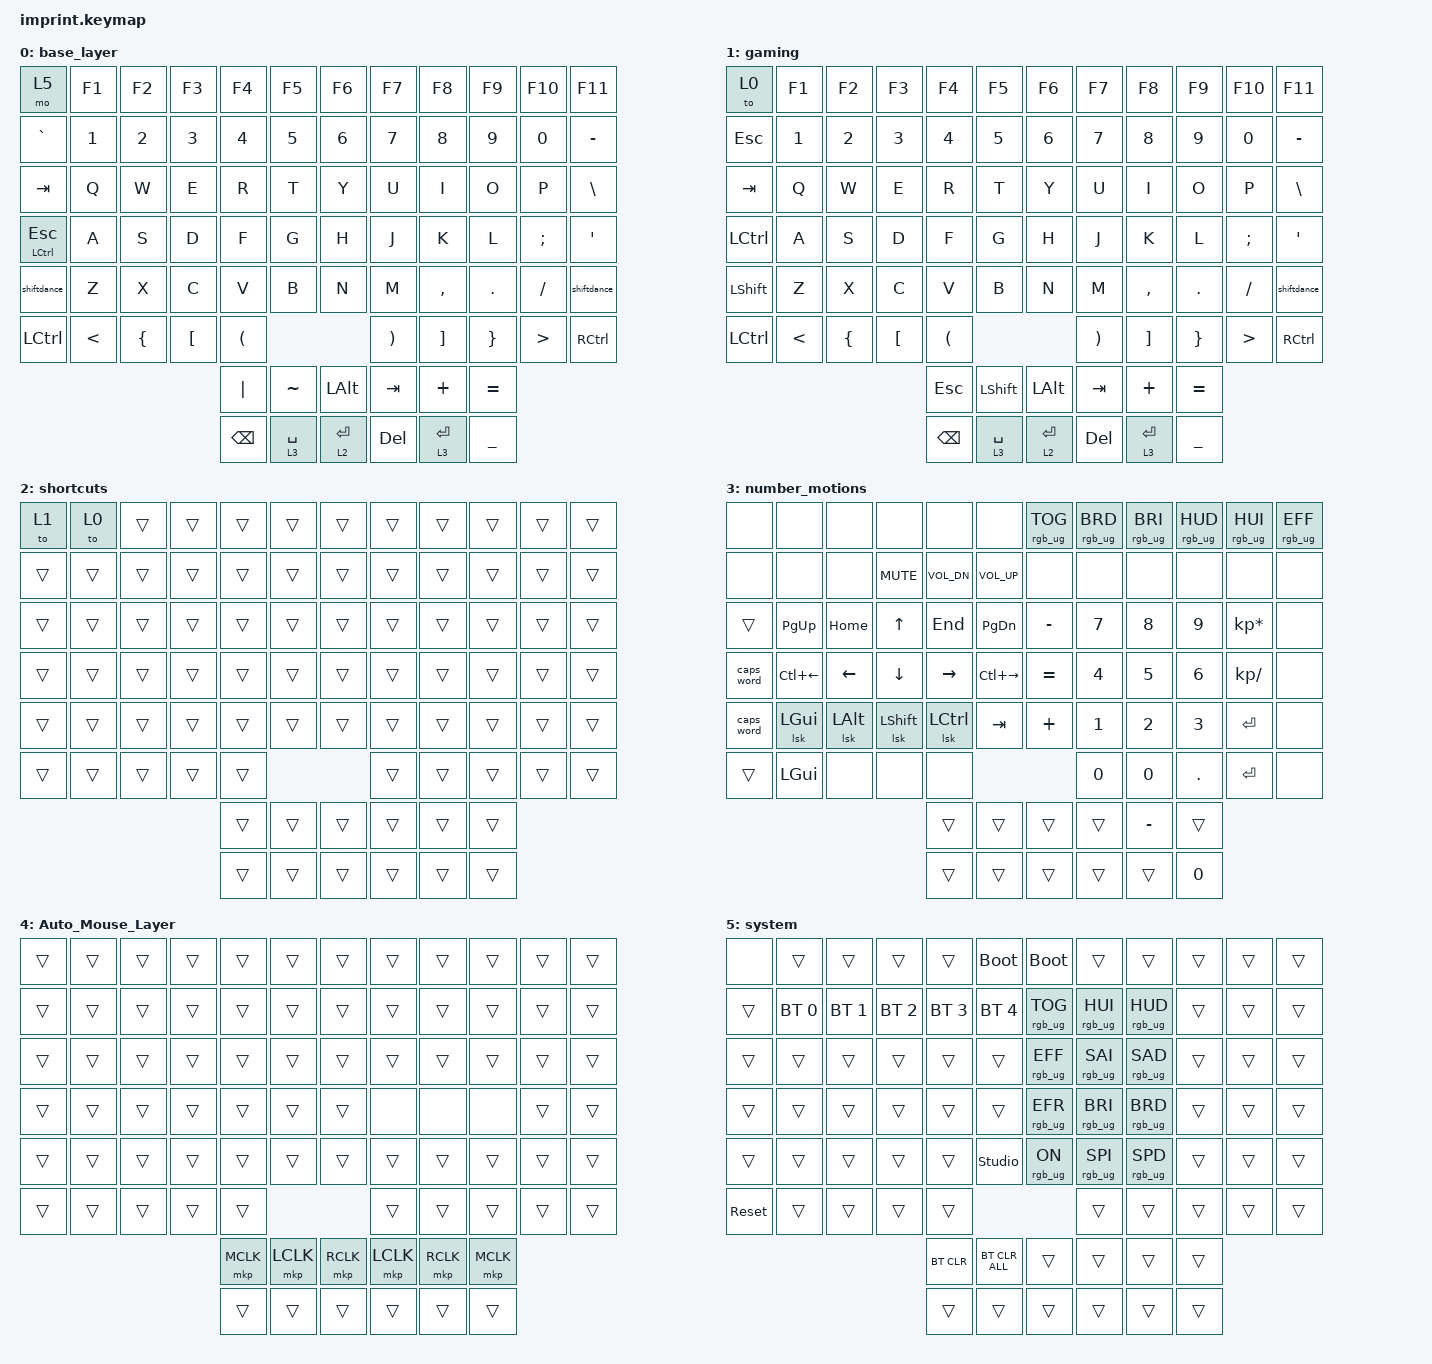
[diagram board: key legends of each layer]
#include <input/processors.dtsi>
#include <dt-bindings/zmk/input_transform.h>
#include <behaviors.dtsi>
#include <dt-bindings/zmk/bt.h>
#include <dt-bindings/zmk/keys.h>
#include <dt-bindings/zmk/pointing.h>
#include <dt-bindings/zmk/rgb.h>

&sk { release-after-ms = <2000>; };

/ {
    chosen { zmk,physical-layout = &physical_layout_imprint_function_row_full_bottom_row; };

    behaviors {
        shiftdance: shiftdance {
            compatible = "zmk,behavior-tap-dance";
            label = "SHIFTDANCE";
            #binding-cells = <0>;
            bindings = <&kp LEFT_SHIFT>, <&kp CAPS>;
        };

        lsk: lsk {
            compatible = "zmk,behavior-sticky-key";
            label = "LSK";
            bindings = <&kp>;
            #binding-cells = <1>;
            lazy;
            ignore-modifiers;
            release-after-ms = <4000>;
        };

        llt: llt {
            compatible = "zmk,behavior-hold-tap";
            label = "LLT";
            bindings = <&mo>, <&kp>;

            #binding-cells = <2>;
            tapping-term-ms = <500>;
            quick-tap-ms = <500>;
            flavor = "tap-unless-interrupted";
        };
    };

    keymap {
        compatible = "zmk,keymap";

        base_layer {
            bindings = <
&mo 5             &kp F1         &kp F2          &kp F3    &kp F4                &kp F5                       &kp F6   &kp F7                 &kp F8     &kp F9           &kp F10           &kp F11
&kp GRAVE         &kp N1         &kp N2          &kp N3    &kp N4                &kp N5                       &kp N6   &kp N7                 &kp N8     &kp N9           &kp N0            &kp MINUS
&kp TAB           &kp Q          &kp W           &kp E     &kp R                 &kp T                        &kp Y    &kp U                  &kp I      &kp O            &kp P             &kp BSLH
&mt LCTRL ESCAPE  &kp A          &kp S           &kp D     &kp F                 &kp G                        &kp H    &kp J                  &kp K      &kp L            &kp SEMI          &kp SQT
&shiftdance       &kp Z          &kp X           &kp C     &kp V                 &kp B                        &kp N    &kp M                  &kp COMMA  &kp DOT          &kp FSLH          &shiftdance
&kp LCTRL         &kp LESS_THAN  &kp LEFT_BRACE  &kp LBKT  &kp LEFT_PARENTHESIS                                        &kp RIGHT_PARENTHESIS  &kp RBKT   &kp RIGHT_BRACE  &kp GREATER_THAN  &kp RCTRL
                                                           &kp PIPE              &kp TILDE    &kp LEFT_ALT    &kp TAB  &kp PLUS               &kp EQUAL
                                                           &kp BSPC              &lt 3 SPACE  &llt 2 ENTER    &kp DEL  &lt 3 ENTER            &kp UNDER
            >;
        };

        gaming {
            bindings = <
&to 0           &kp F1         &kp F2          &kp F3    &kp F4                &kp F5                          &kp F6   &kp F7                 &kp F8     &kp F9           &kp F10           &kp F11
&kp ESCAPE      &kp N1         &kp N2          &kp N3    &kp N4                &kp N5                          &kp N6   &kp N7                 &kp N8     &kp N9           &kp N0            &kp MINUS
&kp TAB         &kp Q          &kp W           &kp E     &kp R                 &kp T                           &kp Y    &kp U                  &kp I      &kp O            &kp P             &kp BSLH
&kp LCTRL       &kp A          &kp S           &kp D     &kp F                 &kp G                           &kp H    &kp J                  &kp K      &kp L            &kp SEMI          &kp SQT
&kp LEFT_SHIFT  &kp Z          &kp X           &kp C     &kp V                 &kp B                           &kp N    &kp M                  &kp COMMA  &kp DOT          &kp FSLH          &shiftdance
&kp LCTRL       &kp LESS_THAN  &kp LEFT_BRACE  &kp LBKT  &kp LEFT_PARENTHESIS                                           &kp RIGHT_PARENTHESIS  &kp RBKT   &kp RIGHT_BRACE  &kp GREATER_THAN  &kp RCTRL
                                                         &kp ESCAPE            &kp LEFT_SHIFT  &kp LEFT_ALT    &kp TAB  &kp PLUS               &kp EQUAL
                                                         &kp BSPC              &lt 3 SPACE     &llt 2 ENTER    &kp DEL  &lt 3 ENTER            &kp UNDER
            >;
        };

        shortcuts {
            bindings = <
&to 1   &to 0   &trans  &trans  &trans  &trans            &trans  &trans  &trans  &trans  &trans  &trans
&trans  &trans  &trans  &trans  &trans  &trans            &trans  &trans  &trans  &trans  &trans  &trans
&trans  &trans  &trans  &trans  &trans  &trans            &trans  &trans  &trans  &trans  &trans  &trans
&trans  &trans  &trans  &trans  &trans  &trans            &trans  &trans  &trans  &trans  &trans  &trans
&trans  &trans  &trans  &trans  &trans  &trans            &trans  &trans  &trans  &trans  &trans  &trans
&trans  &trans  &trans  &trans  &trans                            &trans  &trans  &trans  &trans  &trans
                                &trans  &trans  &trans    &trans  &trans  &trans
                                &trans  &trans  &trans    &trans  &trans  &trans
            >;
        };

        number_motions {
            bindings = <
&none       &none               &none           &none            &none         &none                      &rgb_ug RGB_TOG  &rgb_ug RGB_BRD  &rgb_ug RGB_BRI  &rgb_ug RGB_HUD  &rgb_ug RGB_HUI  &rgb_ug RGB_EFF
&none       &none               &none           &kp C_MUTE       &kp C_VOL_DN  &kp C_VOLUME_UP            &none            &none            &none            &none            &none            &none
&trans      &kp PAGE_UP         &kp HOME        &kp UP_ARROW     &kp END       &kp PAGE_DOWN              &kp MINUS        &kp N7           &kp N8           &kp N9           &kp KP_ASTERISK  &none
&caps_word  &kp LC(LEFT_ARROW)  &kp LEFT_ARROW  &kp DOWN_ARROW   &kp RIGHT     &kp LC(RIGHT)              &kp EQUAL        &kp N4           &kp N5           &kp N6           &kp KP_DIVIDE    &none
&caps_word  &lsk LEFT_GUI       &lsk LEFT_ALT   &lsk LEFT_SHIFT  &lsk LCTRL    &kp TAB                    &kp PLUS         &kp N1           &kp N2           &kp N3           &kp ENTER        &none
&trans      &kp LEFT_GUI        &none           &none            &none                                                     &kp N0           &kp N0           &kp DOT          &kp ENTER        &none
                                                                 &trans        &trans           &trans    &trans           &kp MINUS        &trans
                                                                 &trans        &trans           &trans    &trans           &trans           &kp N0
            >;
        };

        Auto_Mouse_Layer {
            bindings = <
&trans  &trans  &trans  &trans  &trans     &trans                  &trans     &trans     &trans     &trans  &trans  &trans
&trans  &trans  &trans  &trans  &trans     &trans                  &trans     &trans     &trans     &trans  &trans  &trans
&trans  &trans  &trans  &trans  &trans     &trans                  &trans     &trans     &trans     &trans  &trans  &trans
&trans  &trans  &trans  &trans  &trans     &trans                  &trans     &none      &none      &none   &trans  &trans
&trans  &trans  &trans  &trans  &trans     &trans                  &trans     &trans     &trans     &trans  &trans  &trans
&trans  &trans  &trans  &trans  &trans                                        &trans     &trans     &trans  &trans  &trans
                                &mkp MCLK  &mkp LCLK  &mkp RCLK    &mkp LCLK  &mkp RCLK  &mkp MCLK
                                &trans     &trans     &trans       &trans     &trans     &trans
            >;
        };

        system {
            bindings = <
&none       &trans        &trans        &trans        &trans        &bootloader               &bootloader      &trans           &trans           &trans  &trans  &trans
&trans      &bt BT_SEL 0  &bt BT_SEL 1  &bt BT_SEL 2  &bt BT_SEL 3  &bt BT_SEL 4              &rgb_ug RGB_TOG  &rgb_ug RGB_HUI  &rgb_ug RGB_HUD  &trans  &trans  &trans
&trans      &trans        &trans        &trans        &trans        &trans                    &rgb_ug RGB_EFF  &rgb_ug RGB_SAI  &rgb_ug RGB_SAD  &trans  &trans  &trans
&trans      &trans        &trans        &trans        &trans        &trans                    &rgb_ug RGB_EFR  &rgb_ug RGB_BRI  &rgb_ug RGB_BRD  &trans  &trans  &trans
&trans      &trans        &trans        &trans        &trans        &studio_unlock            &rgb_ug RGB_ON   &rgb_ug RGB_SPI  &rgb_ug RGB_SPD  &trans  &trans  &trans
&sys_reset  &trans        &trans        &trans        &trans                                                   &trans           &trans           &trans  &trans  &trans
                                                      &bt BT_CLR    &bt BT_CLR_ALL  &trans    &trans           &trans           &trans
                                                      &trans        &trans          &trans    &trans           &trans           &trans
            >;
        };
    };
};

//right hand trackball configuration

&trackball_peripheral_listener {
    input-processors =
        // this gets it to the default installation orientation,,,,,,,,,,,,,,,,,,,,,,
        //<&zip_xy_transform INPUT_TRANSFORM_XY_SWAP>,
        <&zip_xy_scaler 5 6>,
        // activate layer 3 within 500ms of the trackball moving,,,,,,,,,,,,,,,,,,,,,
        <&zip_temp_layer 4 500>;
};

//left hand trackball configuration

&trackball_central_listener {
    input-processors =
        // this gets it to the default installation orientation,,,,,,,,,,,,,,,,,,,,,,
        // <&zip_xy_transform INPUT_TRANSFORM_XY_SWAP>,,,,,,,,,
        // multiply sensitivity by 1, divide by 3 (make it slower for scrolling),,,,,,,,,,,,,,,,,,,,,,
        <&zip_xy_scaler 1 5>,
        // make this trackball output scrolling events by default instead of cursor movement,,,,,,,,,,,,,,,,,,,,,,
        <&zip_xy_to_scroll_mapper>,
        // invert vertical scrolling so that the view moves in the same direction as the top of the trackball.,,,,,,,,,,,,,,,,,,,,,
        <&zip_scroll_transform INPUT_TRANSFORM_Y_INVERT>;
};
